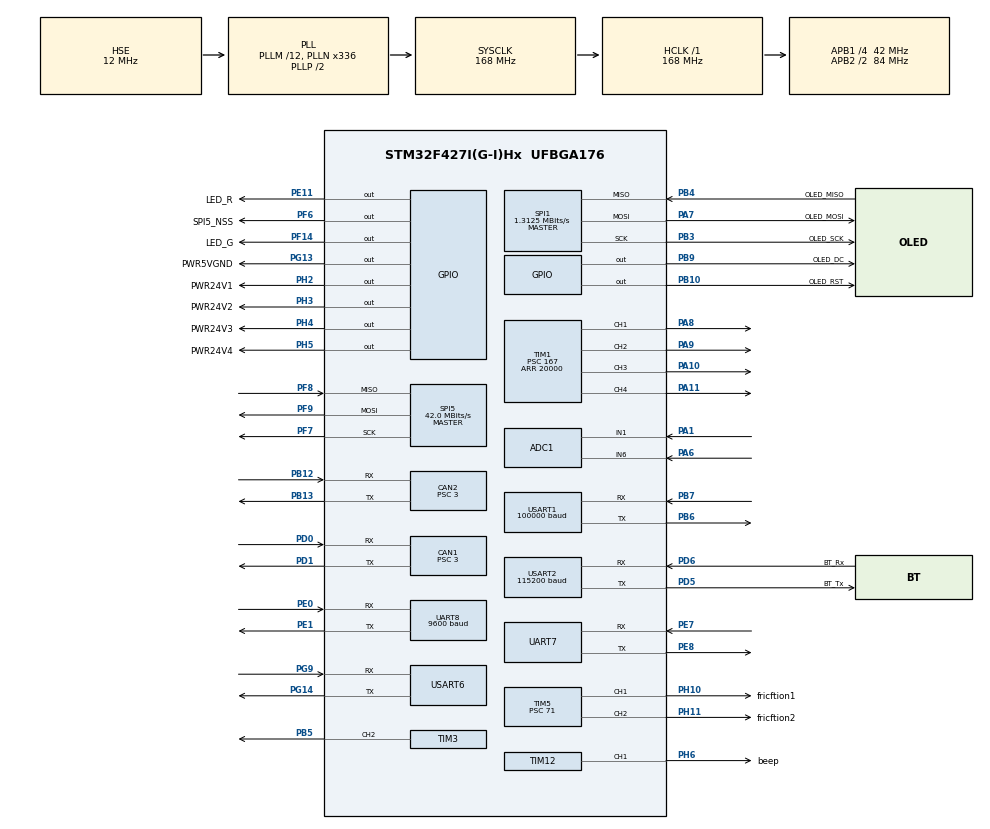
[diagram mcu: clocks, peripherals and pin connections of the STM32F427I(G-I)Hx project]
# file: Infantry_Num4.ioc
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ADC1.Channel-0\#ChannelRegularConversion=ADC_CHANNEL_6
ADC1.DiscontinuousConvMode=DISABLE
ADC1.InjNumberOfConversion=0
ADC1.NbrOfConversion=1
ADC1.NbrOfConversionFlag=1
ADC1.Rank-0\#ChannelRegularConversion=1
ADC1.SamplingTime-0\#ChannelRegularConversion=ADC_SAMPLETIME_3CYCLES
ADC1.ScanConvMode=DISABLE
ADC1.master=1
CAN1.ABOM=ENABLE
CAN1.BS1=CAN_BS1_9TQ
CAN1.BS2=CAN_BS2_4TQ
CAN1.CalculateBaudRate=1000000
CAN1.CalculateTimeBit=999.99
CAN1.CalculateTimeQuantum=71.42857142857143
CAN1.Prescaler=3
CAN2.BS1=CAN_BS1_9TQ
CAN2.BS2=CAN_BS2_4TQ
CAN2.CalculateBaudRate=1000000
CAN2.CalculateTimeBit=999.99
CAN2.CalculateTimeQuantum=71.42857142857143
CAN2.Prescaler=3
Dma.Request0=USART1_RX
Dma.Request1=UART7_RX
Dma.Request2=UART7_TX
Dma.Request3=USART6_RX
Dma.Request4=USART6_TX
Dma.UART7_RX.1.Direction=DMA_PERIPH_TO_MEMORY
Dma.UART7_RX.1.FIFOMode=DMA_FIFOMODE_DISABLE
Dma.UART7_RX.1.Instance=DMA1_Stream3
Dma.UART7_RX.1.MemDataAlignment=DMA_MDATAALIGN_BYTE
Dma.UART7_RX.1.MemInc=DMA_MINC_ENABLE
Dma.UART7_RX.1.Mode=DMA_CIRCULAR
Dma.UART7_RX.1.PeriphDataAlignment=DMA_PDATAALIGN_BYTE
Dma.UART7_RX.1.PeriphInc=DMA_PINC_DISABLE
Dma.UART7_RX.1.Priority=DMA_PRIORITY_LOW
Dma.UART7_TX.2.Direction=DMA_MEMORY_TO_PERIPH
Dma.UART7_TX.2.FIFOMode=DMA_FIFOMODE_DISABLE
Dma.UART7_TX.2.Instance=DMA1_Stream1
Dma.UART7_TX.2.MemDataAlignment=DMA_MDATAALIGN_BYTE
Dma.UART7_TX.2.MemInc=DMA_MINC_ENABLE
Dma.UART7_TX.2.Mode=DMA_NORMAL
Dma.UART7_TX.2.PeriphDataAlignment=DMA_PDATAALIGN_BYTE
Dma.UART7_TX.2.PeriphInc=DMA_PINC_DISABLE
Dma.UART7_TX.2.Priority=DMA_PRIORITY_LOW
Dma.USART1_RX.0.Direction=DMA_PERIPH_TO_MEMORY
Dma.USART1_RX.0.FIFOMode=DMA_FIFOMODE_DISABLE
Dma.USART1_RX.0.Instance=DMA2_Stream2
Dma.USART1_RX.0.MemDataAlignment=DMA_MDATAALIGN_BYTE
Dma.USART1_RX.0.MemInc=DMA_MINC_ENABLE
Dma.USART1_RX.0.Mode=DMA_CIRCULAR
Dma.USART1_RX.0.PeriphDataAlignment=DMA_PDATAALIGN_BYTE
Dma.USART1_RX.0.PeriphInc=DMA_PINC_DISABLE
Dma.USART1_RX.0.Priority=DMA_PRIORITY_LOW
Dma.USART6_RX.3.Direction=DMA_PERIPH_TO_MEMORY
Dma.USART6_RX.3.FIFOMode=DMA_FIFOMODE_DISABLE
Dma.USART6_RX.3.Instance=DMA2_Stream1
Dma.USART6_RX.3.MemDataAlignment=DMA_MDATAALIGN_BYTE
Dma.USART6_RX.3.MemInc=DMA_MINC_ENABLE
Dma.USART6_RX.3.Mode=DMA_CIRCULAR
Dma.USART6_RX.3.PeriphDataAlignment=DMA_PDATAALIGN_BYTE
Dma.USART6_RX.3.PeriphInc=DMA_PINC_DISABLE
Dma.USART6_RX.3.Priority=DMA_PRIORITY_LOW
Dma.USART6_TX.4.Direction=DMA_MEMORY_TO_PERIPH
Dma.USART6_TX.4.FIFOMode=DMA_FIFOMODE_DISABLE
Dma.USART6_TX.4.Instance=DMA2_Stream6
Dma.USART6_TX.4.MemDataAlignment=DMA_MDATAALIGN_BYTE
Dma.USART6_TX.4.MemInc=DMA_MINC_ENABLE
Dma.USART6_TX.4.Mode=DMA_NORMAL
Dma.USART6_TX.4.PeriphDataAlignment=DMA_PDATAALIGN_BYTE
Dma.USART6_TX.4.PeriphInc=DMA_PINC_DISABLE
Dma.USART6_TX.4.Priority=DMA_PRIORITY_LOW
FREERTOS.Tasks01=defaultTask,0,128,StartDefaultTask,Default,NULL,Dynamic,NULL,NULL;Control,0,128,StartControl,Default,NULL,Dynamic,NULL,NULL;Debug,0,128,StartDebug,Default,NULL,Dynamic,NULL,NULL
Mcu.Family=STM32F4
Mcu.Name=STM32F427I(G-I)Hx
Mcu.Package=UFBGA176
NVIC.CAN1_RX0_IRQn=true\:5\:0\:false\:false\:true\:true\:true\:true
NVIC.CAN1_TX_IRQn=true\:5\:0\:false\:false\:true\:true\:true\:true
NVIC.CAN2_RX0_IRQn=true\:5\:0\:false\:false\:true\:true\:true\:true
NVIC.DMA1_Stream1_IRQn=true\:5\:0\:false\:false\:true\:true\:false\:true
NVIC.DMA1_Stream3_IRQn=true\:5\:0\:false\:false\:true\:true\:false\:true
NVIC.DMA2_Stream1_IRQn=true\:5\:0\:false\:false\:true\:true\:false\:true
NVIC.DMA2_Stream2_IRQn=true\:5\:0\:false\:false\:true\:true\:false\:true
NVIC.DMA2_Stream6_IRQn=true\:5\:0\:false\:false\:true\:true\:false\:true
NVIC.PriorityGroup=NVIC_PRIORITYGROUP_4
NVIC.TIM1_TRG_COM_TIM11_IRQn=true\:5\:0\:false\:false\:true\:true\:true\:true
NVIC.TIM2_IRQn=true\:5\:0\:false\:false\:true\:true\:true\:true
NVIC.TIM6_DAC_IRQn=true\:5\:0\:false\:false\:true\:true\:true\:true
NVIC.UART7_IRQn=true\:5\:0\:true\:false\:true\:true\:true\:true
NVIC.UART8_IRQn=true\:5\:0\:true\:false\:true\:true\:true\:true
NVIC.USART1_IRQn=true\:5\:0\:false\:false\:true\:true\:true\:true
NVIC.USART2_IRQn=true\:5\:0\:false\:false\:true\:true\:true\:true
NVIC.USART6_IRQn=true\:5\:0\:true\:false\:true\:true\:true\:true
PA1.Signal=ADCx_IN1
PA10.Signal=S_TIM1_CH3
PA11.Signal=S_TIM1_CH4
PA13.Mode=Serial_Wire
PA13.Signal=SYS_JTMS-SWDIO
PA14.Mode=Serial_Wire
PA14.Signal=SYS_JTCK-SWCLK
PA6.Signal=ADCx_IN6
PA7.GPIO_Label=OLED_MOSI
PA7.Mode=Full_Duplex_Master
PA7.Signal=SPI1_MOSI
PA8.Signal=S_TIM1_CH1
PA9.Signal=S_TIM1_CH2
PB10.GPIO_Label=OLED_RST
PB10.Signal=GPIO_Output
PB12.Mode=CAN_Activate
PB12.Signal=CAN2_RX
PB13.Mode=CAN_Activate
PB13.Signal=CAN2_TX
PB3.GPIO_Label=OLED_SCK
PB3.Mode=Full_Duplex_Master
PB3.Signal=SPI1_SCK
PB4.GPIO_Label=OLED_MISO
PB4.Mode=Full_Duplex_Master
PB4.Signal=SPI1_MISO
PB5.Signal=S_TIM3_CH2
PB6.Mode=Asynchronous
PB6.Signal=USART1_TX
PB7.Mode=Asynchronous
PB7.Signal=USART1_RX
PB9.GPIO_Label=OLED_DC
PB9.Signal=GPIO_Output
PD0.Mode=CAN_Activate
PD0.Signal=CAN1_RX
PD1.Mode=CAN_Activate
PD1.Signal=CAN1_TX
PD5.GPIO_Label=BT_Tx
PD5.Mode=Asynchronous
PD5.Signal=USART2_TX
PD6.GPIO_Label=BT_Rx
PD6.Mode=Asynchronous
PD6.Signal=USART2_RX
PE0.Mode=Asynchronous
PE0.Signal=UART8_RX
PE1.Mode=Asynchronous
PE1.Signal=UART8_TX
PE11.GPIO_Label=LED_R
PE11.Signal=GPIO_Output
PE7.Mode=Asynchronous
PE7.Signal=UART7_RX
PE8.Mode=Asynchronous
PE8.Signal=UART7_TX
PF14.GPIO_Label=LED_G
PF14.Signal=GPIO_Output
PF6.GPIO_Label=SPI5_NSS
PF6.Signal=GPIO_Output
PF7.Mode=Full_Duplex_Master
PF7.Signal=SPI5_SCK
PF8.Mode=Full_Duplex_Master
PF8.Signal=SPI5_MISO
PF9.Mode=Full_Duplex_Master
PF9.Signal=SPI5_MOSI
PG13.GPIO_Label=PWR5VGND
PG13.Signal=GPIO_Output
PG14.Mode=Asynchronous
PG14.Signal=USART6_TX
PG9.Mode=Asynchronous
PG9.Signal=USART6_RX
PH0/OSC_IN.Mode=HSE-External-Oscillator
PH0/OSC_IN.Signal=RCC_OSC_IN
PH1/OSC_OUT.Mode=HSE-External-Oscillator
PH1/OSC_OUT.Signal=RCC_OSC_OUT
PH10.GPIO_Label=fricftion1
PH10.Signal=S_TIM5_CH1
PH11.GPIO_Label=fricftion2
PH11.Signal=S_TIM5_CH2
PH2.GPIO_Label=PWR24V1
PH2.Signal=GPIO_Output
PH3.GPIO_Label=PWR24V2
PH3.Signal=GPIO_Output
PH4.GPIO_Label=PWR24V3
PH4.Signal=GPIO_Output
PH5.GPIO_Label=PWR24V4
PH5.Signal=GPIO_Output
PH6.GPIO_Label=beep
PH6.Signal=S_TIM12_CH1
ProjectManager.HeapSize=0x600
ProjectManager.StackSize=0x400
ProjectManager.TargetToolchain=MDK-ARM V5
RCC.48MHZClocksFreq_Value=48000000
RCC.AHBFreq_Value=168000000
RCC.APB1CLKDivider=RCC_HCLK_DIV4
RCC.APB1Freq_Value=42000000
RCC.APB1TimFreq_Value=84000000
RCC.APB2CLKDivider=RCC_HCLK_DIV2
RCC.APB2Freq_Value=84000000
RCC.APB2TimFreq_Value=168000000
RCC.CortexFreq_Value=168000000
RCC.HCLKFreq_Value=168000000
RCC.HSE_VALUE=12000000
RCC.HSI_VALUE=16000000
RCC.LSE_VALUE=32768
RCC.PLLM=12
RCC.PLLN=336
RCC.PLLQ=7
RCC.PLLSourceVirtual=RCC_PLLSOURCE_HSE
RCC.SYSCLKFreq_VALUE=168000000
RCC.SYSCLKSource=RCC_SYSCLKSOURCE_PLLCLK
RCC.VCOOutputFreq_Value=336000000
SH.ADCx_IN1.0=ADC1_IN1,IN1
SH.ADCx_IN6.0=ADC1_IN6,IN6
SH.S_TIM12_CH1.0=TIM12_CH1,PWM Generation1 CH1
SH.S_TIM1_CH1.0=TIM1_CH1,PWM Generation1 CH1
SH.S_TIM1_CH2.0=TIM1_CH2,PWM Generation2 CH2
SH.S_TIM1_CH3.0=TIM1_CH3,PWM Generation3 CH3
SH.S_TIM1_CH4.0=TIM1_CH4,PWM Generation4 CH4
SH.S_TIM3_CH2.0=TIM3_CH2,PWM Generation2 CH2
SH.S_TIM5_CH1.0=TIM5_CH1,PWM Generation1 CH1
SH.S_TIM5_CH2.0=TIM5_CH2,PWM Generation2 CH2
SPI1.BaudRatePrescaler=SPI_BAUDRATEPRESCALER_64
SPI1.CalculateBaudRate=1.3125 MBits/s
SPI1.Direction=SPI_DIRECTION_2LINES
SPI1.Mode=SPI_MODE_MASTER
SPI1.VirtualType=VM_MASTER
SPI5.BaudRatePrescaler=SPI_BAUDRATEPRESCALER_2
SPI5.CalculateBaudRate=42.0 MBits/s
SPI5.Direction=SPI_DIRECTION_2LINES
SPI5.Mode=SPI_MODE_MASTER
SPI5.VirtualType=VM_MASTER
TIM1.Channel-PWM\ Generation1\ CH1=TIM_CHANNEL_1
TIM1.Channel-PWM\ Generation2\ CH2=TIM_CHANNEL_2
TIM1.Channel-PWM\ Generation3\ CH3=TIM_CHANNEL_3
TIM1.Channel-PWM\ Generation4\ CH4=TIM_CHANNEL_4
TIM1.Period=20000
TIM1.Prescaler=167
TIM1.Pulse-PWM\ Generation1\ CH1=1000
TIM1.Pulse-PWM\ Generation2\ CH2=1000
TIM1.Pulse-PWM\ Generation3\ CH3=1000
TIM1.Pulse-PWM\ Generation4\ CH4=1000
TIM11.Period=999
TIM11.Prescaler=167
TIM12.Channel-PWM\ Generation1\ CH1=TIM_CHANNEL_1
TIM12.Period=36
TIM12.Prescaler=839
TIM12.Pulse-PWM\ Generation1\ CH1=18
TIM2.Period=100
TIM2.Prescaler=8399
TIM3.Channel-PWM\ Generation2\ CH2=TIM_CHANNEL_2
TIM3.Period=999
TIM3.Prescaler=71
TIM4.Prescaler=1000
TIM5.Channel-PWM\ Generation1\ CH1=TIM_CHANNEL_1
TIM5.Channel-PWM\ Generation2\ CH2=TIM_CHANNEL_2
TIM5.Period=19999
TIM5.Prescaler=71
TIM5.Pulse-PWM\ Generation1\ CH1=1000
TIM5.Pulse-PWM\ Generation2\ CH2=1000
TIM6.Period=9999
TIM6.Prescaler=7199
UART7.VirtualMode=Asynchronous
UART8.BaudRate=9600
UART8.VirtualMode=Asynchronous
USART1.BaudRate=100000
USART1.Parity=PARITY_EVEN
USART1.VirtualMode=VM_ASYNC
USART2.BaudRate=115200
USART2.VirtualMode=VM_ASYNC
USART6.VirtualMode=VM_ASYNC
VP_ADC1_TempSens_Input.Mode=IN-TempSens
VP_FREERTOS_VS_CMSIS_V1.Mode=CMSIS_V1
VP_TIM11_VS_ClockSourceINT.Mode=Enable_Timer
VP_TIM2_VS_ClockSourceINT.Mode=Internal
VP_TIM4_VS_ClockSourceINT.Mode=Internal
VP_TIM5_VS_ClockSourceINT.Mode=Internal
VP_TIM6_VS_ClockSourceINT.Mode=Enable_Timer
board=custom

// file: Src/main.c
/* USER CODE BEGIN Header */
/**
  ******************************************************************************
  * @file           : main.c
  * @brief          : Main program body
  ******************************************************************************
  * @attention
  *
  * <h2><center>&copy; Copyright (c) 2021 STMicroelectronics.
  * All rights reserved.</center></h2>
  *
  * This software component is licensed by ST under BSD 3-Clause license,
  * the "License"; You may not use this file except in compliance with the
  * License. You may obtain a copy of the License at:
  *                        opensource.org/licenses/BSD-3-Clause
  *
  ******************************************************************************
  */
/* USER CODE END Header */
#include "main.h"
#include "cmsis_os.h"
#include "adc.h"
#include "can.h"
#include "dma.h"
#include "spi.h"
#include "tim.h"
#include "usart.h"
#include "gpio.h"

void SystemClock_Config(void);
void MX_FREERTOS_Init(void);
/* USER CODE BEGIN PFP */
void BSP_All_Init(void);		// 所有设备初始化
/* USER CODE END PFP */

int main(void)
{

  /* MCU Configuration--------------------------------------------------------*/

  /* Reset of all peripherals, Initializes the Flash interface and the Systick. */
  HAL_Init();

  /* Configure the system clock */
  SystemClock_Config();

  /* Initialize all configured peripherals */
  MX_GPIO_Init();
  MX_DMA_Init();
  MX_ADC1_Init();
  MX_SPI1_Init();
  MX_SPI5_Init();
  MX_CAN1_Init();
  MX_CAN2_Init();
  MX_TIM1_Init();
  MX_TIM6_Init();
  MX_TIM5_Init();
  MX_USART1_UART_Init();
  MX_USART2_UART_Init();
  MX_TIM12_Init();
  MX_TIM4_Init();
  MX_USART6_UART_Init();
  MX_UART7_Init();
  MX_TIM11_Init();
  MX_TIM3_Init();
  MX_UART8_Init();
  MX_TIM2_Init();
  /* USER CODE BEGIN 2 */
  BSP_All_Init();
	angle_init();
	//Beep(100);
	HAL_TIM_Base_Start_IT(&htim2);
  /* USER CODE END 2 */

  /* Call init function for freertos objects (in freertos.c) */
  MX_FREERTOS_Init();
  /* Start scheduler */
  osKernelStart();

  /* We should never get here as control is now taken by the scheduler */
  /* Infinite loop */
    while (1)
    {

    }
}

void SystemClock_Config(void)
{
  RCC_OscInitTypeDef RCC_OscInitStruct = {0};
  RCC_ClkInitTypeDef RCC_ClkInitStruct = {0};

  /** Configure the main internal regulator output voltage
  */
  __HAL_RCC_PWR_CLK_ENABLE();
  __HAL_PWR_VOLTAGESCALING_CONFIG(PWR_REGULATOR_VOLTAGE_SCALE1);
  /** Initializes the RCC Oscillators according to the specified parameters
  * in the RCC_OscInitTypeDef structure.
  */
  RCC_OscInitStruct.OscillatorType = RCC_OSCILLATORTYPE_HSE;
  RCC_OscInitStruct.HSEState = RCC_HSE_ON;
  RCC_OscInitStruct.PLL.PLLState = RCC_PLL_ON;
  RCC_OscInitStruct.PLL.PLLSource = RCC_PLLSOURCE_HSE;
  RCC_OscInitStruct.PLL.PLLM = 12;
  RCC_OscInitStruct.PLL.PLLN = 336;
  RCC_OscInitStruct.PLL.PLLP = RCC_PLLP_DIV2;
  RCC_OscInitStruct.PLL.PLLQ = 7;
  if (HAL_RCC_OscConfig(&RCC_OscInitStruct) != HAL_OK)
  {
    Error_Handler();
  }
  /** Initializes the CPU, AHB and APB buses clocks
  */
  RCC_ClkInitStruct.ClockType = RCC_CLOCKTYPE_HCLK|RCC_CLOCKTYPE_SYSCLK
                              |RCC_CLOCKTYPE_PCLK1|RCC_CLOCKTYPE_PCLK2;
  RCC_ClkInitStruct.SYSCLKSource = RCC_SYSCLKSOURCE_PLLCLK;
  RCC_ClkInitStruct.AHBCLKDivider = RCC_SYSCLK_DIV1;
  RCC_ClkInitStruct.APB1CLKDivider = RCC_HCLK_DIV4;
  RCC_ClkInitStruct.APB2CLKDivider = RCC_HCLK_DIV2;

  if (HAL_RCC_ClockConfig(&RCC_ClkInitStruct, FLASH_LATENCY_5) != HAL_OK)
  {
    Error_Handler();
  }
}

/* USER CODE BEGIN 4 */
void BSP_All_Init(void)	// 初始化所有硬件层
{
    uint8_t i=0;	// 计数

		mpu_device_init();		// 初始化IMU
    init_quaternion();
		HAL_TIM_Base_Start_IT(&htim11);	// 校准陀螺仪

    OLED_Init();			// 初始化OLED
    OLED_Clear(Pen_Write);

    PWR24V_On();			// 开启板子上的24V电压输出
    CAN_FilterInit(&hcan1);	// 初始化CAN1的筛选器
    CAN_FilterInit(&hcan2);	// 初始化CAN2的筛选器

    PID_Init(&PID_GM6020[0],POSITION_PID,4000,2000,5.5,0.01,0.03);	// 1000,0,1000
	  PID_Init(&PID_GM6020_speed[0],POSITION_PID,30000,10000,80,0,0);//0.0001

	  PID_Init(&PID_GM6020[1],POSITION_PID,2000,15000,3,0,0);		// 云台侧面电机1600
    PID_Init(&PID_GM6020_speed[1],POSITION_PID,30000,3000,20,0,0);//0.0001

    PID_Init(&PID_M2006[0],DELTA_PID,16384,16384,5,0.1,2);		// 发射左拨盘电机 速度闭环
    PID_Init(&PID_M2006_ANGLE[0],POSITION_PID,1500,16384,20.0,0,0);	// 发射左拨盘电机 角度闭环
		PID_Init(&PID_M2006[1],DELTA_PID,16384,16384,3.0,0.1,0);		// 发射右拨盘电机 速度闭环
    PID_Init(&PID_M2006_ANGLE[1],POSITION_PID,1500,16384,20.0,0,0);	// 发射右拨盘电机 角度闭环

		PID_Init(&PID_M2006[2],DELTA_PID,16384,16384,4.0,0.5,1);		// 弹舱盖电机 速度闭环
    PID_Init(&PID_M2006_ANGLE[2],POSITION_PID,1500,16384,20.0,0,1);	// 弹舱盖电机 角度闭环

    for(i=0; i<4; i++)	// 四个底盘电机
    {
        PID_Init(&PID_M3508[i],DELTA_PID,20000,2000,5,0,0);//5.5 0.05 1.0
    }

    for(i=4; i<8; i++)	// 四个摩擦轮电机
    {
				PID_Init(&PID_M3508[i],POSITION_PID,16000,3000,9,0.05,5);
    }

    PID_Init(&PID_M3508_Follow,POSITION_PID,6000,6000,8,0,0.5);//6000 4 0 0.5 较为理想   10 0 0.1

		PID_Init(&PID_HEAT_PWM,POSITION_PID,1000,1000,50,0.005,20);
		PID_Init(&PID_Superpower,POSITION_PID,1000,1000,0.050,0.005,0.1);

    HAL_UART_Receive_IT(&huart2, (uint8_t *)aRxBuffer, 1);
		HAL_UART_Receive_IT(&huart2, (uint8_t *)aRxBuffer, 1);
		extern uint8_t tmp_vision;
		HAL_UART_Receive_DMA(&huart6, &tmp_vision, 1);
    InitJudgeUart();
    PWM_init();				// 初始化PWM输出
    dbus_uart_init();		// 初始化遥控器

//    usmart_dev.init(84);
		LASER_On();		// 开启激光

//	while(tim11_cnt!=tim11_cnt_max)
//	{
//		 IMU_Get();
//		 __HAL_TIM_SET_COMPARE(&htim3,TIM_CHANNEL_2,PID_Calculate(&PID_HEAT_PWM,50,imu.temp)*100);
//	}
		HAL_TIM_Base_Stop_IT(&htim11);
		Beep(200);
}
/* USER CODE END 4 */

void Error_Handler(void)
{
}

/************************ (C) COPYRIGHT STMicroelectronics *****END OF FILE****/

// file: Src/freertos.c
/* USER CODE BEGIN Header */
/**
  ******************************************************************************
  * File Name          : freertos.c
  * Description        : Code for freertos applications
  ******************************************************************************
  * @attention
  *
  * <h2><center>&copy; Copyright (c) 2021 STMicroelectronics.
  * All rights reserved.</center></h2>
  *
  * This software component is licensed by ST under Ultimate Liberty license
  * SLA0044, the "License"; You may not use this file except in compliance with
  * the License. You may obtain a copy of the License at:
  *                             www.st.com/SLA0044
  *
  ******************************************************************************
  */
/* USER CODE END Header */

#include "FreeRTOS.h"
#include "task.h"
#include "main.h"
#include "cmsis_os.h"

/* USER CODE BEGIN Includes */
#include "bsp_can.h"
#include "pid.h"
#include "bsp_pwm.h"
#include "bsp_imu.h"
#include "gimbal.h"
#include "bsp_can.h"
#include "JudgeTask.h"
#include "kalman.h"
/* USER CODE END Includes */

/* USER CODE BEGIN PD */
char persent_x[5]={0};
/* USER CODE END PD */

/* USER CODE BEGIN Variables */

extern int 	setSpeed[4];
extern UART_HandleTypeDef huart1;
extern UART_HandleTypeDef huart2;
extern uint8_t RxCounter1,RxBuffer1[500],RxTemp1,F_Usart1;
extern float powerData[];
float chassis_speed=4000, chassis_speed_limit=1600;
float i=0;
double last_imu_yaw;
extern double imu_last_anglesum ;
uint16_t dialspd=2000,Startflag=0;
uint16_t Temp_dialspd,UIflag=0;
extern uint16_t remainHeat0;
uint16_t UsartCounter;
float DeltaChasisSpd;
uint16_t RC_FLAG=0;
uint16_t RcCounter=0;
uint16_t RcCounterTrue=0;
uint16_t RcCounterFalse=0;

extern VisionData datadata;
extern extKalman_t vis_data_pit;
extern extKalman_t vis_data_yaw;
extKalman_t imu_speed;
extKalman_t pit_data_speed;
float imukal_speed;
float pit_speed;
extern float vis_pitch,vis_yaw;
extern uint8_t IsSpeedUpFlag;
extern float InputPower;
extern float GM6020speed;
extern float GM6020speed_pit;
/* USER CODE END Variables */
osThreadId defaultTaskHandle;
osThreadId ControlHandle;
osThreadId DebugHandle;

void StartDefaultTask(void const * argument);
void StartControl(void const * argument);
void StartDebug(void const * argument);

void MX_FREERTOS_Init(void); /* (MISRA C 2004 rule 8.1) */

/* GetIdleTaskMemory prototype (linked to static allocation support) */
void vApplicationGetIdleTaskMemory( StaticTask_t **ppxIdleTaskTCBBuffer, StackType_t **ppxIdleTaskStackBuffer, uint32_t *pulIdleTaskStackSize );

/* USER CODE BEGIN GET_IDLE_TASK_MEMORY */
static StaticTask_t xIdleTaskTCBBuffer;
static StackType_t xIdleStack[configMINIMAL_STACK_SIZE];

void vApplicationGetIdleTaskMemory( StaticTask_t **ppxIdleTaskTCBBuffer, StackType_t **ppxIdleTaskStackBuffer, uint32_t *pulIdleTaskStackSize )
{
    *ppxIdleTaskTCBBuffer = &xIdleTaskTCBBuffer;
    *ppxIdleTaskStackBuffer = &xIdleStack[0];
    *pulIdleTaskStackSize = configMINIMAL_STACK_SIZE;
    /* place for user code */
}
/* USER CODE END GET_IDLE_TASK_MEMORY */

void MX_FREERTOS_Init(void) {

  /* Create the thread(s) */
  /* definition and creation of defaultTask */
  osThreadDef(defaultTask, StartDefaultTask, osPriorityNormal, 0, 128);
  defaultTaskHandle = osThreadCreate(osThread(defaultTask), NULL);

  /* definition and creation of Control */
  osThreadDef(Control, StartControl, osPriorityNormal, 0, 128);
  ControlHandle = osThreadCreate(osThread(Control), NULL);

  /* definition and creation of Debug */
  osThreadDef(Debug, StartDebug, osPriorityNormal, 0, 128);
  DebugHandle = osThreadCreate(osThread(Debug), NULL);

}

void StartDefaultTask(void const * argument)
{
  /* USER CODE BEGIN StartDefaultTask */
		tim11_cnt=0;
		KalmanCreate(&vis_data_pit,20,200);
		KalmanCreate(&vis_data_yaw,20,200);
		KalmanCreate(&imu_speed,200,200);
		KalmanCreate(&pit_data_speed,200,200);
		/* Infinite loop */
		for(;;)
		{

			vis_pitch = datadata.pitch_angle;
			vis_yaw = datadata.yaw_angle;
			imukal_speed = GM6020speed;
			pit_speed = GM6020speed_pit;
			pit_speed = KalmanFilter(&pit_data_speed,pit_speed);
				RcCounter++;
				if(rc_flag)
						RcCounterTrue++;
				else
						RcCounterFalse++;
				if(RcCounter>=20)
				{
						if(RcCounterTrue > RcCounterFalse)
								RC_FLAG=1;
						else
								RC_FLAG=0;
						RcCounter=0;
						RcCounterTrue=0;
						RcCounterFalse=0;
				}
				imu_last_anglesum = imu.angle_sum;
				angle_sum();
				IMU_Get();
				M2006_Total_Angle();
				if(RC_FLAG)
				{
					  if(!Startflag)
							CAN_GM6020[0].total_angle=CAN_GM6020[0].angle,Startflag=1;
            dialspd=2000;
//						if(GameRobotState.shooter_id1_17mm_cooling_limit - PowerHeat.shooter_id1_17mm_cooling_heat < 10 ||GameRobotState.shooter_id2_17mm_cooling_limit - PowerHeat.shooter_id2_17mm_cooling_heat < 10 )
//							dialspd = 0;

						Level_Up_System();
				}
				else
					Startflag=0;
		}
  /* USER CODE END StartDefaultTask */
}

void StartControl(void const * argument)
{
  /* USER CODE BEGIN StartControl */
    /* Infinite loop */
    for(;;)
    {
			BT_SendDialWave();
        if(RC_FLAG==1)
            Beep_Off();
        else {
            CAN_M3508[0].set_current=0;
            CAN_M3508[1].set_current=0;
            CAN_M3508[2].set_current=0;
            CAN_M3508[3].set_current=0;
            CAN_M3508[4].set_current=0;
            CAN_M3508[5].set_current=0;
						CAN_M3508[6].set_current=0;
            CAN_M3508[7].set_current=0;

            CAN_GM6020[0].set_voltage=0;
            CAN_GM6020[1].set_voltage=0;

						CAN_M2006[0].set_current=0;
						CAN_M2006[1].set_current=0;
						CAN_M2006[2].set_current=0;

            CAN_Chassis_SendCurrent();
            CAN_Shoot_SendCurrent();

        }
        rc_flag=0;
				JUDEG_UI();
				osDelay(100);
    }
  /* USER CODE END StartControl */
}

void StartDebug(void const * argument)
{
  /* USER CODE BEGIN StartDebug */

    /* Infinite loop */
    for(;;)
    {
//			HAL_UART_Transmit(&huart6, "a", 1,1000 );

			last_imu_yaw = imu.yaw;
      IMU_Get();
      __HAL_TIM_SET_COMPARE(&htim3,TIM_CHANNEL_2,PID_Calculate(&PID_HEAT_PWM,55,imu.temp)*100);

		}
  /* USER CODE END StartDebug */
}

/************************ (C) COPYRIGHT STMicroelectronics *****END OF FILE****/
